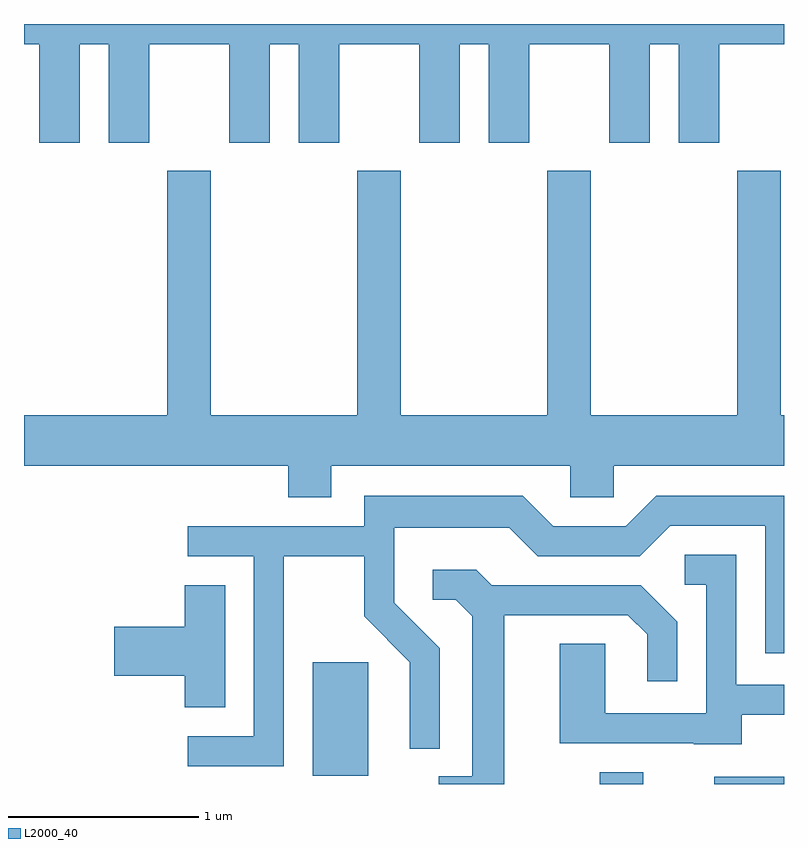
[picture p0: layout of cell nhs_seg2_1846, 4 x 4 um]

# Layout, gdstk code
import gdstk
lib = gdstk.Library(unit=1e-6, precision=1e-09)
def R(c, l, rs):  # rectangles x0, y0, x1, y1
    for r in rs: c.add(gdstk.rectangle(r[:2], r[2:], *l))
def P(c, l, *ps):  # polygons
    for p in ps: c.add(gdstk.Polygon(p, *l))
L2000_40 = (2000, 40)

nhs_seg2_1846 = lib.new_cell('nhs_seg2_1846')
R(nhs_seg2_1846, L2000_40, [(242.641,997.802,242.869,997.864), (243.243,997.802,243.611,997.839), (241.131,997.846,241.424,998.444)])
P(nhs_seg2_1846, L2000_40, [(239.904,1001.696),(240.056,1001.696),(240.056,1001.176),(240.269,1001.176),(240.269,1001.696),(240.691,1001.696),(240.691,1001.176),(240.904,1001.176),(240.904,1001.696),(241.056,1001.696),(241.056,1001.176),(241.269,1001.176),(241.269,1001.696),(241.691,1001.696),(241.691,1001.176),(241.904,1001.176),(241.904,1001.696),(242.056,1001.696),(242.056,1001.176),(242.269,1001.176),(242.269,1001.696),(242.691,1001.696),(242.691,1001.176),(242.904,1001.176),(242.904,1001.696),(243.056,1001.696),(243.056,1001.176),(243.269,1001.176),(243.269,1001.696),(243.611,1001.696),(243.611,1001.802),(239.611,1001.802),(239.611,1001.696),(239.691,1001.696),(239.691,1001.176),(239.904,1001.176)],
  [(241.229,999.476),(242.486,999.476),(242.486,999.311),(242.714,999.311),(242.714,999.476),(243.611,999.476),(243.611,999.744),(243.594,999.744),(243.594,1001.029),(243.366,1001.029),(243.366,999.744),(242.594,999.744),(242.594,1001.029),(242.366,1001.029),(242.366,999.744),(241.594,999.744),(241.594,1001.029),(241.366,1001.029),(241.366,999.744),(240.594,999.744),(240.594,1001.029),(240.366,1001.029),(240.366,999.744),(239.611,999.744),(239.611,999.476),(241.001,999.476),(241.001,999.311),(241.229,999.311)],
  [(240.979,999.001),(241.401,999.001),(241.401,998.684),(241.641,998.444),(241.641,997.988),(241.799,997.988),(241.799,998.517),(241.559,998.757),(241.559,999.151),(242.164,999.151),(242.314,999.001),(242.852,999.001),(243.012,999.161),(243.511,999.161),(243.511,998.491),(243.611,998.491),(243.611,999.319),(242.939,999.319),(242.779,999.159),(242.397,999.159),(242.237,999.319),(241.401,999.319),(241.401,999.159),(240.473,999.159),(240.473,999.001),(240.821,999.001),(240.821,998.054),(240.473,998.054),(240.473,997.896),(240.979,997.896)],
  [(243.389,998.166),(243.611,998.166),(243.611,998.324),(243.359,998.324),(243.359,999.009),(243.088,999.009),(243.088,998.851),(243.201,998.851),(243.201,998.174),(242.669,998.174),(242.669,998.539),(242.431,998.539),(242.431,998.016),(243.135,998.016),(243.135,998.011),(243.389,998.011)],
  [(242.139,998.691),(242.789,998.691),(242.891,998.589),(242.891,998.343),(243.049,998.343),(243.049,998.657),(242.857,998.849),(242.072,998.849),(241.992,998.929),(241.763,998.929),(241.763,998.771),(241.884,998.771),(241.971,998.684),(241.971,997.844),(241.793,997.844),(241.793,997.802),(242.139,997.802)],
  [(240.669,998.849),(240.456,998.849),(240.456,998.629),(240.086,998.629),(240.086,998.371),(240.456,998.371),(240.456,998.206),(240.669,998.206)])

lib.write_gds('nhs_seg2_1846.gds')
